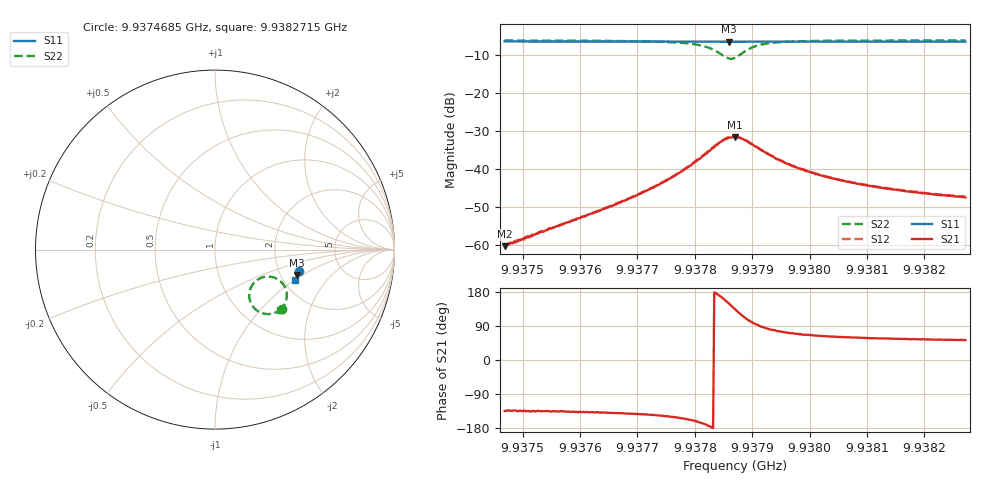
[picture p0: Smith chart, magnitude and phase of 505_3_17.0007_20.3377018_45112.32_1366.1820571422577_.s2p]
#  HZ  S  RI  R  50.00
! Rohde & Schwarz Vector Network Analyzer
! Rohde-Schwarz,ZNB20-2Port,1311601062101988,3.16
! Created: UTC 3/20/2024, 11:14:46 PM
! freq[Hz]  re:S11  im:S11  re:S21  im:S21  re:S12  im:S12  re:S22  im:S22
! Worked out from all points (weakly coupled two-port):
!   401 points, 9.9374685 GHz to 9.9382715 GHz, reference 50 ohm
!   highest |S21| = -31.46 dB at 9.93787 GHz (marker M1); lowest = -60.2 dB at 9.9374685 GHz (marker M2)
!   lowest |S11| = -6.4 dB at 9.93786 GHz (marker M3), VSWR 2.83, Z = 122 - j45.4 ohm
!   |S11| at or under -10 dB: nowhere
!   |S22| runs from -10.9 to -6.1 dB; largest |S21 - S12| = 0.0012
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9.9374685e9  0.4678 -0.1195  -0.000685 -0.000694  -0.000692 -0.000725  0.3729 -0.3283
9.937603e9  0.4647 -0.1284  -0.00175 -0.00161  -0.00177 -0.00156  0.3571 -0.3401
9.93767326e9  0.463 -0.1332  -0.00291 -0.00236  -0.00303 -0.00239  0.3433 -0.3481
9.93770137e9  0.4623 -0.1352  -0.00371 -0.00282  -0.00379 -0.00283  0.3351 -0.352
9.9377375e9  0.4613 -0.1376  -0.00524 -0.00346  -0.00543 -0.00349  0.3197 -0.3566
9.93777765e9  0.46 -0.1403  -0.00849 -0.00417  -0.00873 -0.00408  0.2913 -0.3593
9.93779973e9  0.4591 -0.1418  -0.0118 -0.00417  -0.012 -0.00395  0.265 -0.3549
9.9378178e9  0.4581 -0.1431  -0.0156 -0.00283  -0.0159 -0.0025  0.2354 -0.3406
9.93783185e9  0.4574 -0.1438  -0.0191 -0.000141  -0.0196 0.000297  0.2091 -0.314
9.93784389e9  0.4566 -0.1441  -0.0223 0.00456  -0.0225 0.00505  0.1922 -0.2738
9.93785995e9  0.4558 -0.144  -0.0222 0.0137  -0.0222 0.0146  0.206 -0.2004
9.93786999e9  0.456 -0.1439  -0.0186 0.0192  -0.0184 0.02  0.2437 -0.1639
9.93788203e9  0.4564 -0.144  -0.0118 0.0225  -0.0112 0.0229  0.3007 -0.1504
9.93789408e9  0.4568 -0.1447  -0.00573 0.0219  -0.0051 0.0223  0.3468 -0.1637
9.93791616e9  0.4571 -0.1465  0.000697 0.0178  0.00102 0.018  0.3882 -0.2062
9.9379543e9  0.4567 -0.1497  0.00345 0.012  0.00382 0.0121  0.4001 -0.2579
9.9379804e9  0.4561 -0.1515  0.00373 0.00967  0.00415 0.00968  0.3979 -0.2776
9.93800449e9  0.4555 -0.1532  0.00367 0.00819  0.00405 0.00816  0.3945 -0.2906
9.93806873e9  0.4539 -0.1578  0.00341 0.00589  0.0036 0.00586  0.3851 -0.3107
9.93813898e9  0.4519 -0.1623  0.00306 0.00463  0.00318 0.0046  0.3767 -0.3231
9.93820322e9  0.4502 -0.1664  0.00282 0.00393  0.00291 0.00392  0.3705 -0.3314
9.93827148e9  0.4484 -0.1709  0.00259 0.00338  0.00269 0.00342  0.3646 -0.3379
